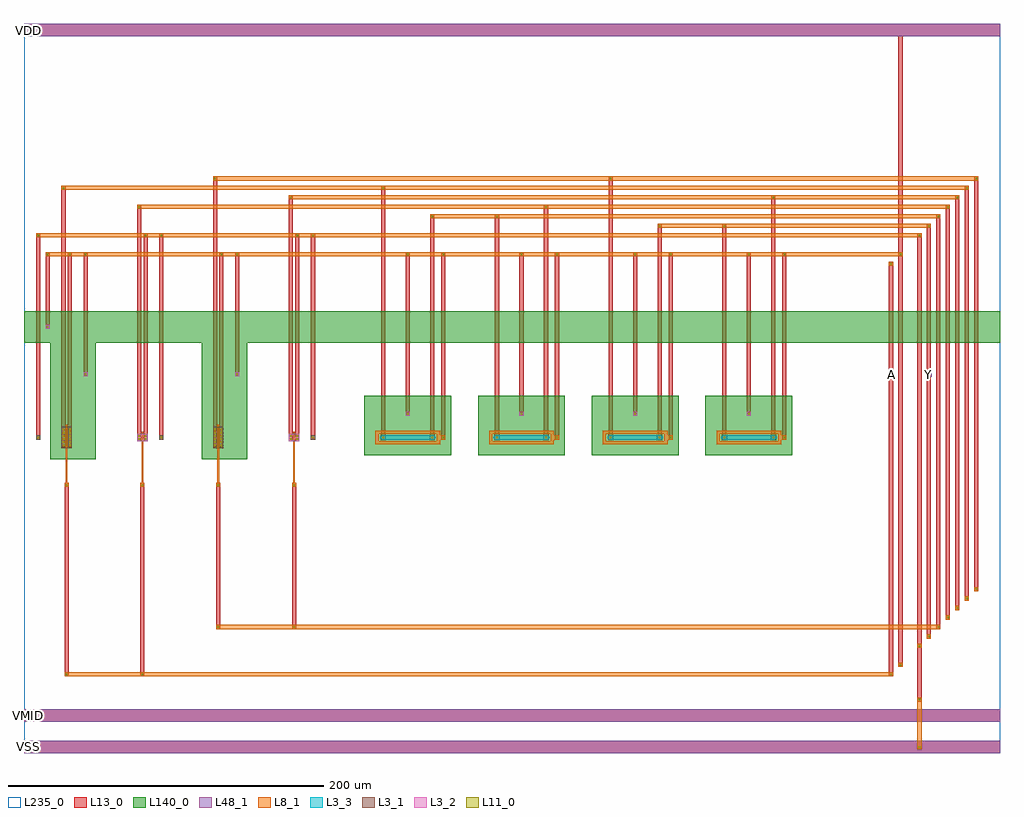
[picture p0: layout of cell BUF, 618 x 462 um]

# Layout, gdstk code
import gdstk
lib = gdstk.Library(unit=1e-6, precision=1e-09)
def R(c, l, rs):  # rectangles x0, y0, x1, y1
    for r in rs: c.add(gdstk.rectangle(r[:2], r[2:], *l))
def A(c, l, x, y, w, h, nx, ny, dx, dy):  # array of equal rectangles
    R(c, l, [(x+i*dx, y+j*dy, x+i*dx+w, y+j*dy+h) for i in range(nx) for j in range(ny)])
def P(c, l, *ps):  # polygons
    for p in ps: c.add(gdstk.Polygon(p, *l))
L3_1 = (3, 1)
L3_2 = (3, 2)
L3_3 = (3, 3)
L8_1 = (8, 1)
L11_0 = (11, 0)
L13_0 = (13, 0)
L48_1 = (48, 1)
L140_0 = (140, 0)
L235_0 = (235, 0)

fet_p__buf = lib.new_cell('fet_p__BUF')
R(fet_p__buf, L3_1, [(-3.3,-6.75,3.3,6.75)])
A(fet_p__buf, L11_0, -2.5, -5.5, 1, 1, 1, 6, 0, 2)
A(fet_p__buf, L11_0, 1.5, -5.5, 1, 1, 1, 6, 0, 2)
R(fet_p__buf, L13_0, [(-3.3,-6.3,-0.7,6.3), (0.7,-6.3,3.3,6.3)])
fet_p__buf.add(gdstk.FlexPath([(0,-7.95),(0,7.95)], 1, ends="flush", simple_path=True, layer=8, datatype=1))  # L8_1

cont_g__buf = lib.new_cell('cont_g__BUF')
R(cont_g__buf, L8_1, [(-1.3,-1.3,1.3,1.3)])
R(cont_g__buf, L11_0, [(-0.5,-0.5,0.5,0.5)])
R(cont_g__buf, L13_0, [(-1.3,-1.3,1.3,1.3)])

cont_n__buf = lib.new_cell('cont_n__BUF')
R(cont_n__buf, L3_2, [(-1.3,-1.3,1.3,1.3)])
R(cont_n__buf, L11_0, [(-0.5,-0.5,0.5,0.5)])
R(cont_n__buf, L13_0, [(-1.3,-1.3,1.3,1.3)])

fet_n__buf = lib.new_cell('fet_n__BUF')
R(fet_n__buf, L3_2, [(-3.3,-2.5,3.3,2.5)])
R(fet_n__buf, L11_0, [(-2.5,-1.5,-1.5,-0.5), (1.5,-1.5,2.5,-0.5), (-2.5,0.5,-1.5,1.5), (1.5,0.5,2.5,1.5)])
R(fet_n__buf, L13_0, [(-3.3,-2.3,-0.7,2.3), (0.7,-2.3,3.3,2.3)])
fet_n__buf.add(gdstk.FlexPath([(0,-3.7),(0,3.7)], 1, ends="flush", simple_path=True, layer=8, datatype=1))  # L8_1

cont_p__buf = lib.new_cell('cont_p__BUF')
R(cont_p__buf, L3_1, [(-1.3,-1.3,1.3,1.3)])
R(cont_p__buf, L11_0, [(-0.5,-0.5,0.5,0.5)])
R(cont_p__buf, L13_0, [(-1.3,-1.3,1.3,1.3)])

res_diff__buf = lib.new_cell('res_diff__BUF')
P(res_diff__buf, L3_3, [(-16.5,-1.4),(-17.5,-0.4),(-17.5,0.4),(-16.5,1.4),(16.5,1.4),(17.5,0.4),(17.5,-0.4),(16.5,-1.4)])
P(res_diff__buf, L8_1, [(-20.5,-4.4),(-20.5,2.4),(-18.5,2.4),(-18.5,-2.4),(18.5,-2.4),(18.5,2.4),(-20.5,2.4),(-20.5,4.4),(20.5,4.4),(20.5,-4.4)])
R(res_diff__buf, L11_0, [(-16,-0.5,-15,0.5), (15,-0.5,16,0.5)])
R(res_diff__buf, L13_0, [(-17.2,-1.7,-13.8,1.7), (13.8,-1.7,17.2,1.7)])

buf = lib.new_cell('BUF')
A(buf, L8_1, 26.5, 169.5, 1, 31, 4, 1, 48, 0)
A(buf, L8_1, 262.2, 198.7, 4.6, 2.6, 4, 1, 72, 0)
R(buf, L8_1, [(565.7,2.7,568.3,35.3), (25.7,48.7,550.3,51.3), (121.7,78.7,580.3,81.3), (13.7,314.7,556.3,317.3), (7.7,326.7,568.3,329.3), (401.2,332.7,574.3,335.3), (257.2,338.7,580.3,341.3), (71.7,344.7,586.3,347.3), (167.7,350.7,592.3,353.3), (23.7,356.7,598.3,359.3), (119.7,362.7,604.3,365.3)])
A(buf, L13_0, 264.2, 198.7, 2.6, 118.6, 4, 1, 72, 0)
A(buf, L13_0, 241.7, 213.7, 2.6, 103.6, 4, 1, 72, 0)
R(buf, L13_0, [(0,0,618,8), (0,20,618,28), (565.7,32.7,568.3,69.3), (25.7,48.7,28.3,171.3), (73.7,48.7,76.3,171.3), (547.7,48.7,550.3,311.3), (553.7,54.7,556.3,317.3), (565.7,66.7,568.3,329.3), (571.7,72.7,574.3,335.3), (121.7,78.7,124.3,171.3), (169.7,78.7,172.3,171.3), (577.7,78.7,580.3,341.3), (583.7,84.7,586.3,347.3), (589.7,90.7,592.3,353.3), (595.7,96.7,598.3,359.3), (601.7,102.7,604.3,365.3), (7.7,198.7,10.3,329.3), (23.7,198.7,26.3,359.3), (27.7,198.7,30.3,317.3), (71.7,198.7,74.3,347.3), (75.7,198.7,78.3,329.3), (85.7,198.7,88.3,329.3), (119.7,198.7,122.3,365.3), (123.7,198.7,126.3,317.3), (167.7,198.7,170.3,353.3), (171.7,198.7,174.3,329.3), (181.7,198.7,184.3,329.3), (226.2,198.7,228.8,359.3), (257.2,198.7,259.8,341.3), (298.2,198.7,300.8,341.3), (329.2,198.7,331.8,347.3), (370.2,198.7,372.8,365.3), (401.2,198.7,403.8,335.3), (442.2,198.7,444.8,335.3), (473.2,198.7,475.8,353.3), (547.3,238.3,550.7,241.7), (571.3,238.3,574.7,241.7), (37.7,238.7,40.3,317.3), (133.7,238.7,136.3,317.3), (13.7,268.7,16.3,317.3), (553.7,314.7,556.3,459.3), (0,454,618,462)])
R(buf, L48_1, [(0,0,618,8), (0,20,618,28), (547.3,238.3,550.7,241.7), (571.3,238.3,574.7,241.7), (0,454,618,462)])
A(buf, L140_0, 215.5, 188.6, 55, 37.8, 4, 1, 72, 0)
R(buf, L140_0, [(16.7,186.25,45.3,280), (112.7,186.25,141.3,280), (0,260,618,280)])
R(buf, L235_0, [(0,0,618,462)])
buf.add(gdstk.Reference(fet_p__buf, (27,200)))
buf.add(gdstk.Reference(cont_g__buf, (27,170)))
buf.add(gdstk.Reference(cont_n__buf, (39,240)))
buf.add(gdstk.Reference(fet_n__buf, (75,200)))
buf.add(gdstk.Reference(cont_g__buf, (75,170)))
buf.add(gdstk.Reference(cont_p__buf, (87,200)))
buf.add(gdstk.Reference(fet_p__buf, (123,200)))
buf.add(gdstk.Reference(cont_g__buf, (123,170)))
buf.add(gdstk.Reference(cont_n__buf, (135,240)))
buf.add(gdstk.Reference(fet_n__buf, (171,200)))
buf.add(gdstk.Reference(cont_g__buf, (171,170)))
buf.add(gdstk.Reference(cont_p__buf, (183,200)))
buf.add(gdstk.Reference(res_diff__buf, (243,200)))
buf.add(gdstk.Reference(cont_n__buf, (243,215)))
buf.add(gdstk.Reference(cont_g__buf, (265.5,200)))
buf.add(gdstk.Reference(res_diff__buf, (315,200)))
buf.add(gdstk.Reference(cont_n__buf, (315,215)))
buf.add(gdstk.Reference(cont_g__buf, (337.5,200)))
buf.add(gdstk.Reference(res_diff__buf, (387,200)))
buf.add(gdstk.Reference(cont_n__buf, (387,215)))
buf.add(gdstk.Reference(cont_g__buf, (409.5,200)))
buf.add(gdstk.Reference(res_diff__buf, (459,200)))
buf.add(gdstk.Reference(cont_n__buf, (459,215)))
buf.add(gdstk.Reference(cont_g__buf, (481.5,200)))
buf.add(gdstk.Reference(cont_n__buf, (15,270)))
buf.add(gdstk.Reference(cont_p__buf, (9,200)))
buf.add(gdstk.Reference(cont_g__buf, (27,50)))
buf.add(gdstk.Reference(cont_g__buf, (75,50)))
buf.add(gdstk.Reference(cont_g__buf, (549,50)))
buf.add(gdstk.Reference(cont_g__buf, (549,310)))
buf.add(gdstk.Reference(cont_g__buf, (555,56)))
buf.add(gdstk.Reference(cont_g__buf, (29,316)))
buf.add(gdstk.Reference(cont_g__buf, (39,316)))
buf.add(gdstk.Reference(cont_g__buf, (125,316)))
buf.add(gdstk.Reference(cont_g__buf, (135,316)))
buf.add(gdstk.Reference(cont_g__buf, (243,316)))
buf.add(gdstk.Reference(cont_g__buf, (265.5,316)))
buf.add(gdstk.Reference(cont_g__buf, (315,316)))
buf.add(gdstk.Reference(cont_g__buf, (337.5,316)))
buf.add(gdstk.Reference(cont_g__buf, (387,316)))
buf.add(gdstk.Reference(cont_g__buf, (409.5,316)))
buf.add(gdstk.Reference(cont_g__buf, (459,316)))
buf.add(gdstk.Reference(cont_g__buf, (481.5,316)))
buf.add(gdstk.Reference(cont_g__buf, (15,316)))
buf.add(gdstk.Reference(cont_g__buf, (555,316)))
buf.add(gdstk.Reference(cont_g__buf, (567,68)))
buf.add(gdstk.Reference(cont_g__buf, (77,328)))
buf.add(gdstk.Reference(cont_g__buf, (87,328)))
buf.add(gdstk.Reference(cont_g__buf, (173,328)))
buf.add(gdstk.Reference(cont_g__buf, (183,328)))
buf.add(gdstk.Reference(cont_g__buf, (9,328)))
buf.add(gdstk.Reference(cont_g__buf, (567,328)))
buf.add(gdstk.Reference(cont_g__buf, (567,34)))
buf.add(gdstk.Reference(cont_g__buf, (567,4)))
buf.add(gdstk.Reference(cont_g__buf, (573,74)))
buf.add(gdstk.Reference(cont_g__buf, (402.5,334)))
buf.add(gdstk.Reference(cont_g__buf, (443.5,334)))
buf.add(gdstk.Reference(cont_g__buf, (573,334)))
buf.add(gdstk.Reference(cont_g__buf, (123,80)))
buf.add(gdstk.Reference(cont_g__buf, (171,80)))
buf.add(gdstk.Reference(cont_g__buf, (579,80)))
buf.add(gdstk.Reference(cont_g__buf, (258.5,340)))
buf.add(gdstk.Reference(cont_g__buf, (299.5,340)))
buf.add(gdstk.Reference(cont_g__buf, (579,340)))
buf.add(gdstk.Reference(cont_g__buf, (585,86)))
buf.add(gdstk.Reference(cont_g__buf, (73,346)))
buf.add(gdstk.Reference(cont_g__buf, (330.5,346)))
buf.add(gdstk.Reference(cont_g__buf, (585,346)))
buf.add(gdstk.Reference(cont_g__buf, (591,92)))
buf.add(gdstk.Reference(cont_g__buf, (169,352)))
buf.add(gdstk.Reference(cont_g__buf, (474.5,352)))
buf.add(gdstk.Reference(cont_g__buf, (591,352)))
buf.add(gdstk.Reference(cont_g__buf, (597,98)))
buf.add(gdstk.Reference(cont_g__buf, (25,358)))
buf.add(gdstk.Reference(cont_g__buf, (227.5,358)))
buf.add(gdstk.Reference(cont_g__buf, (597,358)))
buf.add(gdstk.Reference(cont_g__buf, (603,104)))
buf.add(gdstk.Reference(cont_g__buf, (121,364)))
buf.add(gdstk.Reference(cont_g__buf, (371.5,364)))
buf.add(gdstk.Reference(cont_g__buf, (603,364)))
buf.add(gdstk.Label('A', (549,240), layer=48, texttype=0))
buf.add(gdstk.Label('Y', (573,240), layer=48, texttype=0))
buf.add(gdstk.Label('VDD', (3,458), layer=48, texttype=0))
buf.add(gdstk.Label('VMID', (3,24), layer=48, texttype=0))
buf.add(gdstk.Label('VSS', (3,4), layer=48, texttype=0))

lib.write_gds('BUF.gds')
